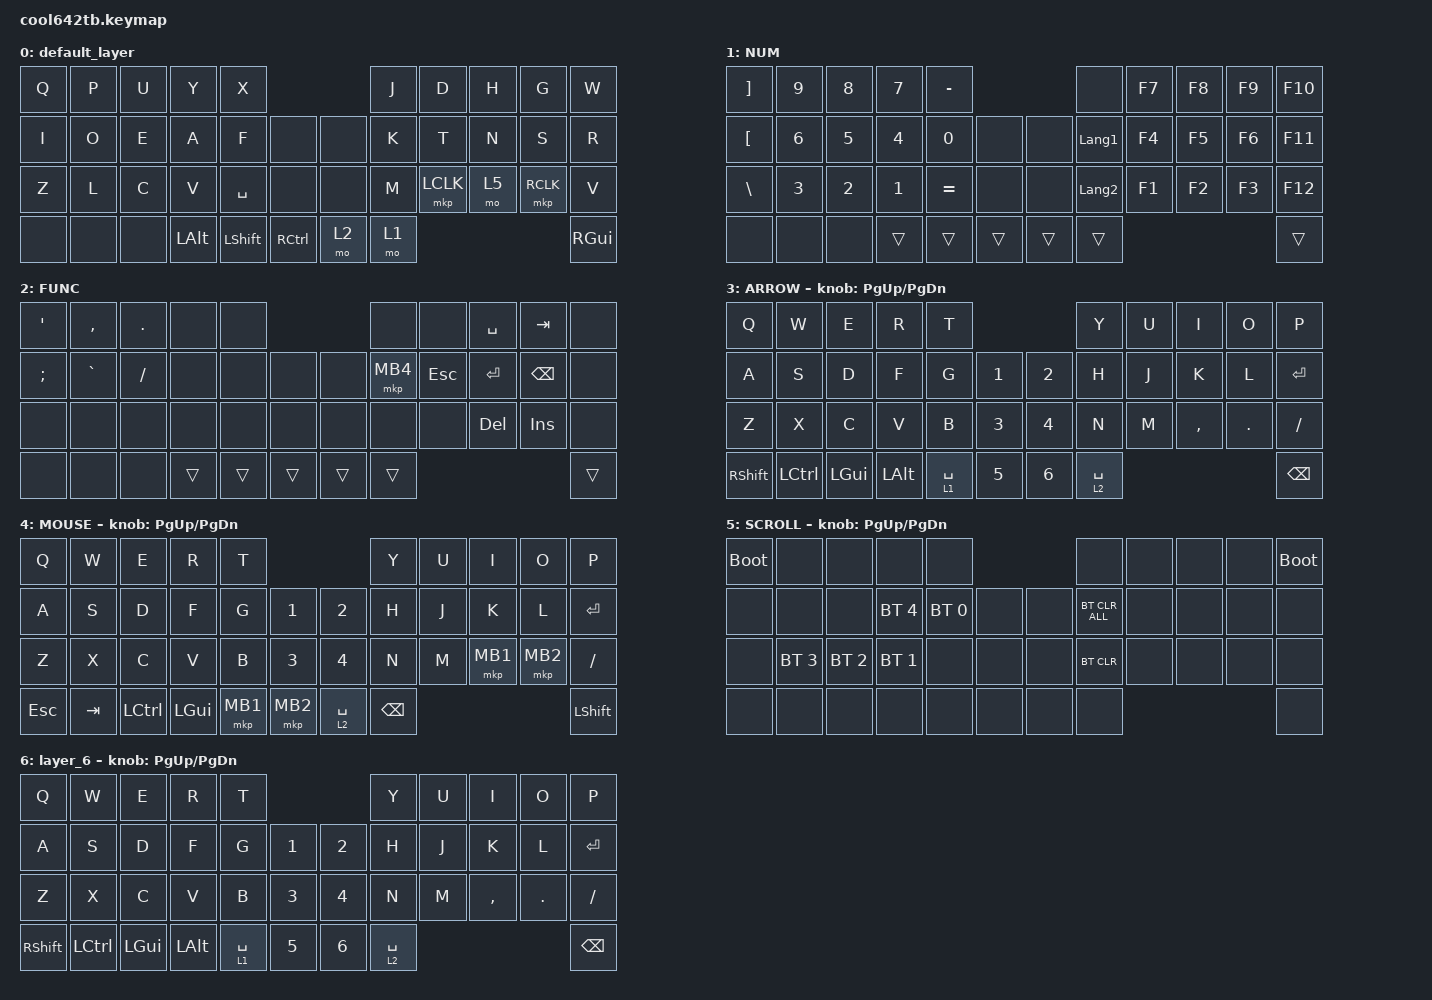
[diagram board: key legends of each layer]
#include <behaviors.dtsi>
#include <dt-bindings/zmk/bt.h>
#include <dt-bindings/zmk/keys.h>
#include <dt-bindings/zmk/pointing.h>

#define ZMK_MOUSE_DEFAULT_SCRL_VAL 100
#define MOUSE 4
#define SCROLL 5
#define NUM 6

&mt {
    flavor = "balanced";
    quick-tap-ms = <0>;
};

/ {
    combos {
        compatible = "zmk,combos";

        comb1 {
            bindings = <&kp ENTER>;
            key-positions = <18 19>;
        };

        comb2 {
            bindings = <&kp BACKSPACE>;
            key-positions = <19 20>;
        };

        comb3 {
            bindings = <&kp ESC>;
            key-positions = <18 20>;
        };

        comb4 {
            bindings = <&msc SCRL_DOWN>;
            key-positions = <6 7>;
        };

        comb5 {
            bindings = <&msc SCRL_DOWN>;
            key-positions = <8 7>;
            timeout-ms = <0>;
            layers = <2>;
        };

        MS_BTN1_ {
            bindings = <&mkp MB4>;
            key-positions = <6 8>;
        };
    };

    macros {
        to_layer_0: to_layer_0 {
            compatible = "zmk,behavior-macro-one-param";
            #binding-cells = <1>;
            bindings = <&to 0 &macro_param_1to1 &kp MACRO_PLACEHOLDER>;
            label = "TO_LAYER_0";
        };
    };

    behaviors {
        lt_to_layer_0: lt_to_layer_0 {
            compatible = "zmk,behavior-hold-tap";
            label = "LAYER_TAP_TO_0";
            bindings = <&mo>, <&to_layer_0>;

            #binding-cells = <2>;
            tapping-term-ms = <200>;
        };

        scroll_up_down: behavior_sensor_rotate_mouse_wheel_up_down {
            compatible = "zmk,behavior-sensor-rotate";
            #sensor-binding-cells = <0>;
            bindings = <&msc SCRL_UP>, <&msc SCRL_DOWN>;

            tap-ms = <20>;
        };
    };

    // エンコーダー：キー

    rot_kp: sensor_rotate_kp {
        compatible = "zmk,behavior-sensor-rotate-var";
        #sensor-binding-cells = <2>;
        bindings = <&kp>, <&kp>;
    };

    // エンコーダー：マウススクロール 

    rot_msc: sensor_rotate_msc {
        compatible = "zmk,behavior-sensor-rotate-var";
        #sensor-binding-cells = <2>;
        tap-ms = <20>;
        bindings = <&msc>, <&msc>;
    };

    // エンコーダー：マウススクロール(MOVE_Y)

    scroll_move_y: sensor_rotate_msc_for_move_y {
        compatible = "zmk,behavior-sensor-rotate";
        #sensor-binding-cells = <0>;
        bindings = <&msc MOVE_Y(20)>, <&msc MOVE_Y(-20)>;

        // tap-ms下限メモ Yの値で可変: Y(15) <81>, Y(20) <65>, Y(25) <49>

        tap-ms = <65>;
    };

    // エンコーダー：マウススクロール(MOVE_X)

    scroll_move_x: sensor_rotate_msc_for_move_x {
        compatible = "zmk,behavior-sensor-rotate";
        #sensor-binding-cells = <0>;
        bindings = <&msc MOVE_X(20)>, <&msc MOVE_X(-20)>;

        // tap-ms下限メモ Xの値で可変: X(15) <81>, X(20) <65>, X(25) <49>

        tap-ms = <65>;
    };

    keymap {
        compatible = "zmk,keymap";

        default_layer {
            bindings = <
&kp Q  &kp P  &kp U  &kp Y         &kp X                             &kp J  &kp D      &kp H  &kp G      &kp W
&kp I  &kp O  &kp E  &kp A         &kp F           &none      &none  &kp K  &kp T      &kp N  &kp S      &kp R
&kp Z  &kp L  &kp C  &kp V         &kp SPACE       &none      &none  &kp M  &mkp LCLK  &mo 5  &mkp RCLK  &kp V
&none  &none  &none  &kp LEFT_ALT  &kp LEFT_SHIFT  &kp RCTRL  &mo 2  &mo 1                               &kp RIGHT_GUI
            >;
        };

        NUM {
            bindings = <
&kp RIGHT_BRACKET  &kp NUMBER_9  &kp NUMBER_8  &kp NUMBER_7  &kp MINUS                     &none           &kp F7  &kp F8  &kp F9  &kp F10
&kp LEFT_BRACKET   &kp NUMBER_6  &kp NUMBER_5  &kp NUMBER_4  &kp NUMBER_0  &none   &none   &kp LANGUAGE_1  &kp F4  &kp F5  &kp F6  &kp F11
&kp BACKSLASH      &kp NUMBER_3  &kp NUMBER_2  &kp NUMBER_1  &kp EQUAL     &none   &none   &kp LANGUAGE_2  &kp F1  &kp F2  &kp F3  &kp F12
&none              &none         &none         &trans        &trans        &trans  &trans  &trans                                  &trans
            >;
        };

        FUNC {
            bindings = <
&kp SQT        &kp COMMA  &kp PERIOD  &none   &none                   &none     &none    &kp SPACE   &kp TAB        &none
&kp SEMICOLON  &kp GRAVE  &kp SLASH   &none   &none   &none   &none   &mkp MB4  &kp ESC  &kp ENTER   &kp BACKSPACE  &none
&none          &none      &none       &none   &none   &none   &none   &none     &none    &kp DELETE  &kp INSERT     &none
&none          &none      &none       &trans  &trans  &trans  &trans  &trans                                        &trans
            >;
        };

        ARROW {
            bindings = <
&kp Q       &kp W      &kp E     &kp R     &kp T                        &kp Y        &kp U  &kp I      &kp O       &kp P
&kp A       &kp S      &kp D     &kp F     &kp G        &kp N1  &kp N2  &kp H        &kp J  &kp K      &kp L       &kp ENTER
&kp Z       &kp X      &kp C     &kp V     &kp B        &kp N3  &kp N4  &kp N        &kp M  &kp COMMA  &kp PERIOD  &kp SLASH
&kp RSHIFT  &kp LCTRL  &kp LGUI  &kp LALT  &lt 1 SPACE  &kp N5  &kp N6  &lt 2 SPACE                                &kp BSPC
            >;

            sensor-bindings = <&inc_dec_kp PG_UP PAGE_DOWN>;
        };

        MOUSE {
            bindings = <
&kp Q       &kp W    &kp E             &kp R         &kp T                            &kp Y          &kp U  &kp I     &kp O     &kp P
&kp A       &kp S    &kp D             &kp F         &kp G     &kp N1    &kp N2       &kp H          &kp J  &kp K     &kp L     &kp ENTER
&kp Z       &kp X    &kp C             &kp V         &kp B     &kp N3    &kp N4       &kp N          &kp M  &mkp MB1  &mkp MB2  &kp SLASH
&kp ESCAPE  &kp TAB  &kp LEFT_CONTROL  &kp LEFT_GUI  &mkp MB1  &mkp MB2  &lt 2 SPACE  &kp BACKSPACE                             &kp LEFT_SHIFT
            >;

            sensor-bindings = <&inc_dec_kp PG_UP PAGE_DOWN>;
        };

        SCROLL {
            bindings = <
&bootloader  &none         &none         &none         &none                       &none           &none  &none  &none  &bootloader
&none        &none         &none         &bt BT_SEL 4  &bt BT_SEL 0  &none  &none  &bt BT_CLR_ALL  &none  &none  &none  &none
&none        &bt BT_SEL 3  &bt BT_SEL 2  &bt BT_SEL 1  &none         &none  &none  &bt BT_CLR      &none  &none  &none  &none
&none        &none         &none         &none         &none         &none  &none  &none                                &none
            >;

            sensor-bindings = <&inc_dec_kp PG_UP PAGE_DOWN>;
        };

        layer_6 {
            bindings = <
&kp Q       &kp W      &kp E     &kp R     &kp T                        &kp Y        &kp U  &kp I      &kp O       &kp P
&kp A       &kp S      &kp D     &kp F     &kp G        &kp N1  &kp N2  &kp H        &kp J  &kp K      &kp L       &kp ENTER
&kp Z       &kp X      &kp C     &kp V     &kp B        &kp N3  &kp N4  &kp N        &kp M  &kp COMMA  &kp PERIOD  &kp SLASH
&kp RSHIFT  &kp LCTRL  &kp LGUI  &kp LALT  &lt 1 SPACE  &kp N5  &kp N6  &lt 2 SPACE                                &kp BSPC
            >;

            sensor-bindings = <&inc_dec_kp PG_UP PAGE_DOWN>;
        };
    };
};
